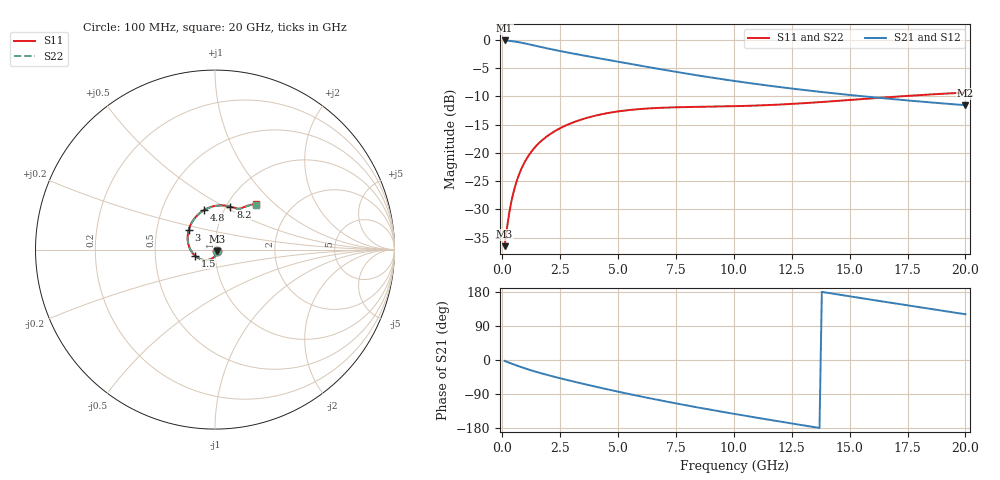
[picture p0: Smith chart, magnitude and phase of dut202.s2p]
! Touchstone file exported from HFSS 2023.1.0
!  File:  D:/Users/fzz/RDL_TSV/temp_RDL_TSV_202_1778756389.aedt
!  Generated:  7:11:35 %x4E0B%x5348  5%x6708 14, 2026
!  Design:  RDL_TSV
!  Project:  temp_RDL_TSV_202_1778756389
!  Setup:  Setup1
!  Solution:  Sweep
! Variables:
!  dtsv = 17.35um
!  hbump = 3um
!  htsv = 96.11um
!  ldown = 212.27um
!  lrdl = 604.36um
!  p = 40
!  p1 = 53.14um
!  rhole = 10um
!  subl = 3054.25um
!  t = 450um
!  tdown = 2.34um
!  trdl = 4.41um
!  viad = 10um
!  wdown = 27.88um
!  wrdl = 23.81um
!  xbump = 18um
# GHz S MA R 50.000000
! Terminal data exported
! Port[1] = TM1_1_T1
! Port[2] = TM1_4_T1
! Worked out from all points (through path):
!   200 points, 100 MHz to 20 GHz, reference 50 ohm
!   highest |S21| = -0.12 dB at 100 MHz (marker M1); lowest = -11.6 dB at 20 GHz (marker M2)
!   group delay of S21, straight-line fit = 31.2 ps
!   lowest |S11| = -36.5 dB at 100 MHz (marker M3), VSWR 1.03, Z = 51.1 - j0.985 ohm
!   |S11| at or under -10 dB: start of sweep to 17.22 GHz
!   |S22| runs from -36.5 to -9.4 dB; largest |S21 - S12| = 1.8e-14
!   S11 on the Smith chart (normalised r, x): 100 MHz: 1.02, -0.02; 1.5 GHz: 0.80, -0.05; 3 GHz: 0.73, +0.17; 4.8 GHz: 0.81, +0.38; 8.2 GHz: 1.05, +0.54; 20 GHz: 1.35, +0.77
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0.1  0.01493 -40.1  0.9868 -2.5  0.9868 -2.5  0.01493 -40.1
! Gamma 0 0 0 0
! Port Impedance 50 0 50 0
0.2  0.02149 -64.9  0.9838 -4.9  0.9838 -4.9  0.02149 -64.9
0.3  0.02942 -80.7  0.9796 -7.2  0.9796 -7.2  0.02942 -80.7
0.4  0.03777 -92.4  0.9744 -9.6  0.9744 -9.6  0.03777 -92.4
0.6  0.05443 -110.3  0.9611 -14.1  0.9611 -14.1  0.05443 -110.3
0.8  0.07031 -124.8  0.9449 -18.4  0.9449 -18.4  0.0703 -124.7
1  0.08509 -137.3  0.9268 -22.5  0.9268 -22.5  0.08507 -137.3
1.5  0.1172 -163.6  0.8793 -31.9  0.8793 -31.9  0.1171 -163.6
2.2  0.1525 167.6  0.8184 -43.5  0.8184 -43.5  0.1523 167.7
3  0.1838 142.6  0.7597 -55.7  0.7597 -55.7  0.1834 142.7
3.5  0.1996 130.0  0.7271 -62.9  0.7271 -62.9  0.1991 130.0
4.8  0.2292 104.8  0.6508 -80.9  0.6508 -80.9  0.2286 104.8
5.8  0.2426 90.9  0.5982 -93.9  0.5982 -93.9  0.2419 90.9
6.8  0.25 80.5  0.5507 -106.2  0.5507 -106.2  0.2492 80.4
8.2  0.2546 70.4  0.493 -122.5  0.493 -122.5  0.2537 70.3
10.1  0.2588 62.6  0.43 -143.1  0.43 -143.1  0.2578 62.5
11.7  0.2657 59.2  0.3882 -159.5  0.3882 -159.5  0.2646 59.1
13.4  0.2781 56.8  0.3525 -176.4  0.3525 -176.4  0.2767 56.7
15.1  0.2943 54.7  0.3235 167.1  0.3235 167.1  0.2927 54.6
16.7  0.3109 52.6  0.3008 151.8  0.3008 151.8  0.3091 52.5
18.3  0.3268 50.2  0.2815 136.7  0.2815 136.7  0.3247 50.1
20  0.3413 47.6  0.264 120.7  0.264 120.7  0.3389 47.5
